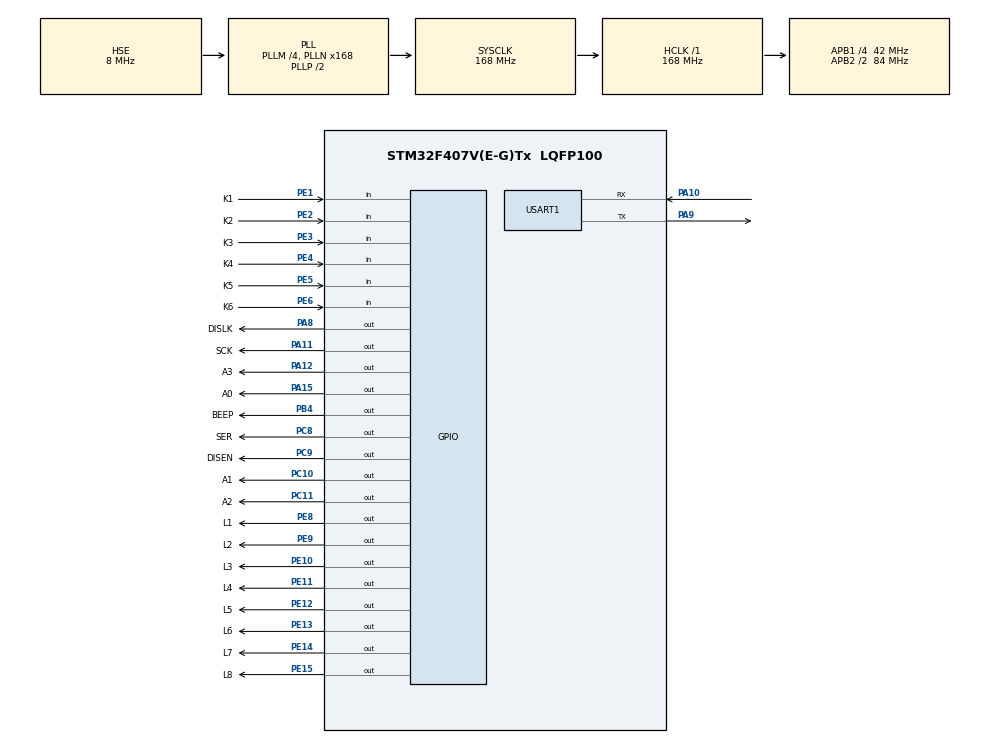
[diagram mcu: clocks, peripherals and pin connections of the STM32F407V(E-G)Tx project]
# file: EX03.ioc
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Dma.Request0=USART1_RX
Dma.USART1_RX.0.Direction=DMA_PERIPH_TO_MEMORY
Dma.USART1_RX.0.FIFOMode=DMA_FIFOMODE_DISABLE
Dma.USART1_RX.0.Instance=DMA2_Stream2
Dma.USART1_RX.0.MemDataAlignment=DMA_MDATAALIGN_BYTE
Dma.USART1_RX.0.MemInc=DMA_MINC_ENABLE
Dma.USART1_RX.0.Mode=DMA_NORMAL
Dma.USART1_RX.0.PeriphDataAlignment=DMA_PDATAALIGN_BYTE
Dma.USART1_RX.0.PeriphInc=DMA_PINC_DISABLE
Dma.USART1_RX.0.Priority=DMA_PRIORITY_LOW
FREERTOS.Tasks01=TaskLED,24,256,StartTaskLED,Default,NULL,Dynamic,NULL,NULL;TaskUART,8,256,StartTaskUART,Default,NULL,Dynamic,NULL,NULL;TaskKEY,8,256,StartTaskKEY,Default,NULL,Dynamic,NULL,NULL;TaskSEG,8,128,StartTaskSEG,Default,NULL,Dynamic,NULL,NULL
Mcu.Family=STM32F4
Mcu.Name=STM32F407V(E-G)Tx
Mcu.Package=LQFP100
NVIC.DMA2_Stream2_IRQn=true\:5\:0\:false\:false\:true\:true\:false\:true
NVIC.PriorityGroup=NVIC_PRIORITYGROUP_4
NVIC.TIM1_BRK_TIM9_IRQn=true\:0\:0\:false\:false\:true\:false\:false\:true
NVIC.TimeBase=TIM1_BRK_TIM9_IRQn
NVIC.TimeBaseIP=TIM9
NVIC.USART1_IRQn=true\:5\:0\:false\:false\:true\:true\:true\:true
PA10.Mode=Asynchronous
PA10.Signal=USART1_RX
PA11.GPIO_Label=SCK
PA11.Signal=GPIO_Output
PA12.GPIO_Label=A3
PA12.Signal=GPIO_Output
PA13.Mode=Serial_Wire
PA13.Signal=SYS_JTMS-SWDIO
PA14.Mode=Serial_Wire
PA14.Signal=SYS_JTCK-SWCLK
PA15.GPIO_Label=A0
PA15.Signal=GPIO_Output
PA8.GPIO_Label=DISLK
PA8.Signal=GPIO_Output
PA9.Mode=Asynchronous
PA9.Signal=USART1_TX
PB4.GPIO_Label=BEEP
PB4.Signal=GPIO_Output
PC10.GPIO_Label=A1
PC10.Signal=GPIO_Output
PC11.GPIO_Label=A2
PC11.Signal=GPIO_Output
PC8.GPIO_Label=SER
PC8.Signal=GPIO_Output
PC9.GPIO_Label=DISEN
PC9.Signal=GPIO_Output
PE1.GPIO_Label=K1
PE1.GPIO_PuPd=GPIO_PULLUP
PE1.Signal=GPIO_Input
PE10.GPIO_Label=L3
PE10.GPIO_ModeDefaultOutputPP=GPIO_MODE_OUTPUT_PP
PE10.GPIO_PuPd=GPIO_NOPULL
PE10.GPIO_Speed=GPIO_SPEED_FREQ_LOW
PE10.PinState=GPIO_PIN_SET
PE10.Signal=GPIO_Output
PE11.GPIO_Label=L4
PE11.GPIO_ModeDefaultOutputPP=GPIO_MODE_OUTPUT_PP
PE11.GPIO_PuPd=GPIO_NOPULL
PE11.GPIO_Speed=GPIO_SPEED_FREQ_LOW
PE11.PinState=GPIO_PIN_SET
PE11.Signal=GPIO_Output
PE12.GPIO_Label=L5
PE12.GPIO_ModeDefaultOutputPP=GPIO_MODE_OUTPUT_PP
PE12.GPIO_PuPd=GPIO_NOPULL
PE12.GPIO_Speed=GPIO_SPEED_FREQ_LOW
PE12.PinState=GPIO_PIN_SET
PE12.Signal=GPIO_Output
PE13.GPIO_Label=L6
PE13.GPIO_ModeDefaultOutputPP=GPIO_MODE_OUTPUT_PP
PE13.GPIO_PuPd=GPIO_NOPULL
PE13.GPIO_Speed=GPIO_SPEED_FREQ_LOW
PE13.PinState=GPIO_PIN_SET
PE13.Signal=GPIO_Output
PE14.GPIO_Label=L7
PE14.GPIO_ModeDefaultOutputPP=GPIO_MODE_OUTPUT_PP
PE14.GPIO_PuPd=GPIO_NOPULL
PE14.GPIO_Speed=GPIO_SPEED_FREQ_LOW
PE14.PinState=GPIO_PIN_SET
PE14.Signal=GPIO_Output
PE15.GPIO_Label=L8
PE15.GPIO_ModeDefaultOutputPP=GPIO_MODE_OUTPUT_PP
PE15.GPIO_PuPd=GPIO_NOPULL
PE15.GPIO_Speed=GPIO_SPEED_FREQ_LOW
PE15.PinState=GPIO_PIN_SET
PE15.Signal=GPIO_Output
PE2.GPIO_Label=K2
PE2.GPIO_PuPd=GPIO_PULLUP
PE2.Signal=GPIO_Input
PE3.GPIO_Label=K3
PE3.GPIO_PuPd=GPIO_PULLUP
PE3.Signal=GPIO_Input
PE4.GPIO_Label=K4
PE4.GPIO_PuPd=GPIO_PULLUP
PE4.Signal=GPIO_Input
PE5.GPIO_Label=K5
PE5.GPIO_PuPd=GPIO_PULLDOWN
PE5.Signal=GPIO_Input
PE6.GPIO_Label=K6
PE6.GPIO_PuPd=GPIO_PULLDOWN
PE6.Signal=GPIO_Input
PE8.GPIO_Label=L1
PE8.GPIO_ModeDefaultOutputPP=GPIO_MODE_OUTPUT_PP
PE8.GPIO_PuPd=GPIO_NOPULL
PE8.GPIO_Speed=GPIO_SPEED_FREQ_LOW
PE8.PinState=GPIO_PIN_SET
PE8.Signal=GPIO_Output
PE9.GPIO_Label=L2
PE9.GPIO_ModeDefaultOutputPP=GPIO_MODE_OUTPUT_PP
PE9.GPIO_PuPd=GPIO_NOPULL
PE9.GPIO_Speed=GPIO_SPEED_FREQ_LOW
PE9.PinState=GPIO_PIN_SET
PE9.Signal=GPIO_Output
PH0-OSC_IN.Mode=HSE-External-Oscillator
PH0-OSC_IN.Signal=RCC_OSC_IN
PH1-OSC_OUT.Mode=HSE-External-Oscillator
PH1-OSC_OUT.Signal=RCC_OSC_OUT
ProjectManager.HeapSize=0x200
ProjectManager.StackSize=0x400
ProjectManager.TargetToolchain=MDK-ARM V5.27
RCC.48MHZClocksFreq_Value=84000000
RCC.AHBFreq_Value=168000000
RCC.APB1CLKDivider=RCC_HCLK_DIV4
RCC.APB1Freq_Value=42000000
RCC.APB1TimFreq_Value=84000000
RCC.APB2CLKDivider=RCC_HCLK_DIV2
RCC.APB2Freq_Value=84000000
RCC.APB2TimFreq_Value=168000000
RCC.CortexFreq_Value=168000000
RCC.HCLKFreq_Value=168000000
RCC.HSE_VALUE=8000000
RCC.HSI_VALUE=16000000
RCC.LSE_VALUE=32768
RCC.PLLM=4
RCC.PLLN=168
RCC.PLLSourceVirtual=RCC_PLLSOURCE_HSE
RCC.SYSCLKFreq_VALUE=168000000
RCC.SYSCLKSource=RCC_SYSCLKSOURCE_PLLCLK
RCC.VCOOutputFreq_Value=336000000
USART1.VirtualMode=VM_ASYNC
VP_FREERTOS_VS_CMSIS_V2.Mode=CMSIS_V2
VP_SYS_VS_tim9.Mode=TIM9
board=custom

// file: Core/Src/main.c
/* USER CODE BEGIN Header */
/**
  ******************************************************************************
  * @file           : main.c
  * @brief          : Main program body
  ******************************************************************************
  * @attention
  *
  * <h2><center>&copy; Copyright (c) 2021 STMicroelectronics.
  * All rights reserved.</center></h2>
  *
  * This software component is licensed by ST under Ultimate Liberty license
  * SLA0044, the "License"; You may not use this file except in compliance with
  * the License. You may obtain a copy of the License at:
  *                             www.st.com/SLA0044
  *
  ******************************************************************************
  */
/* USER CODE END Header */
#include "main.h"
#include "cmsis_os.h"
#include "dma.h"
#include "usart.h"
#include "gpio.h"

void SystemClock_Config(void);
void MX_FREERTOS_Init(void);

int main(void)
{

  /* MCU Configuration--------------------------------------------------------*/

  /* Reset of all peripherals, Initializes the Flash interface and the Systick. */
  HAL_Init();

  /* Configure the system clock */
  SystemClock_Config();

  /* Initialize all configured peripherals */
  MX_GPIO_Init();
  MX_DMA_Init();
  MX_USART1_UART_Init();

  /* Init scheduler */
  osKernelInitialize();  /* Call init function for freertos objects (in freertos.c) */
  MX_FREERTOS_Init();
  /* Start scheduler */
  osKernelStart();

  /* We should never get here as control is now taken by the scheduler */
  /* Infinite loop */
  while (1)
  {

  }
}

void SystemClock_Config(void)
{
  RCC_OscInitTypeDef RCC_OscInitStruct = {0};
  RCC_ClkInitTypeDef RCC_ClkInitStruct = {0};

  /** Configure the main internal regulator output voltage
  */
  __HAL_RCC_PWR_CLK_ENABLE();
  __HAL_PWR_VOLTAGESCALING_CONFIG(PWR_REGULATOR_VOLTAGE_SCALE1);
  /** Initializes the RCC Oscillators according to the specified parameters
  * in the RCC_OscInitTypeDef structure.
  */
  RCC_OscInitStruct.OscillatorType = RCC_OSCILLATORTYPE_HSE;
  RCC_OscInitStruct.HSEState = RCC_HSE_ON;
  RCC_OscInitStruct.PLL.PLLState = RCC_PLL_ON;
  RCC_OscInitStruct.PLL.PLLSource = RCC_PLLSOURCE_HSE;
  RCC_OscInitStruct.PLL.PLLM = 4;
  RCC_OscInitStruct.PLL.PLLN = 168;
  RCC_OscInitStruct.PLL.PLLP = RCC_PLLP_DIV2;
  RCC_OscInitStruct.PLL.PLLQ = 4;
  if (HAL_RCC_OscConfig(&RCC_OscInitStruct) != HAL_OK)
  {
    Error_Handler();
  }
  /** Initializes the CPU, AHB and APB buses clocks
  */
  RCC_ClkInitStruct.ClockType = RCC_CLOCKTYPE_HCLK|RCC_CLOCKTYPE_SYSCLK
                              |RCC_CLOCKTYPE_PCLK1|RCC_CLOCKTYPE_PCLK2;
  RCC_ClkInitStruct.SYSCLKSource = RCC_SYSCLKSOURCE_PLLCLK;
  RCC_ClkInitStruct.AHBCLKDivider = RCC_SYSCLK_DIV1;
  RCC_ClkInitStruct.APB1CLKDivider = RCC_HCLK_DIV4;
  RCC_ClkInitStruct.APB2CLKDivider = RCC_HCLK_DIV2;

  if (HAL_RCC_ClockConfig(&RCC_ClkInitStruct, FLASH_LATENCY_5) != HAL_OK)
  {
    Error_Handler();
  }
}

 /**
  * @brief  Period elapsed callback in non blocking mode
  * @note   This function is called  when TIM9 interrupt took place, inside
  * HAL_TIM_IRQHandler(). It makes a direct call to HAL_IncTick() to increment
  * a global variable "uwTick" used as application time base.
  * @param  htim : TIM handle
  * @retval None
  */
void HAL_TIM_PeriodElapsedCallback(TIM_HandleTypeDef *htim)
{
  if (htim->Instance == TIM9) {
    HAL_IncTick();
  }
}

void Error_Handler(void)
{
  __disable_irq();
  while (1)
  {
  }
}

/************************ (C) COPYRIGHT STMicroelectronics *****END OF FILE****/

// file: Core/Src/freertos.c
/* USER CODE BEGIN Header */
/**
  ******************************************************************************
  * File Name          : freertos.c
  * Description        : Code for freertos applications
  ******************************************************************************
  * @attention
  *
  * <h2><center>&copy; Copyright (c) 2021 STMicroelectronics.
  * All rights reserved.</center></h2>
  *
  * This software component is licensed by ST under Ultimate Liberty license
  * SLA0044, the "License"; You may not use this file except in compliance with
  * the License. You may obtain a copy of the License at:
  *                             www.st.com/SLA0044
  *
  ******************************************************************************
  */
/* USER CODE END Header */

#include "FreeRTOS.h"
#include "task.h"
#include "main.h"
#include "cmsis_os.h"

/* USER CODE BEGIN Includes */
#include "led.h"
#include "seg.h"
#include "usart.h"
#include "stdio.h"
#include "string.h"
/* USER CODE END Includes */

/* USER CODE BEGIN Variables */
uint8_t led_run=1; //运行
uint8_t led_sp=5;	 //速度等级

uint8_t seg[4] = {0};

#define MAX_RECV_LEN 128
uint8_t rx1_buff[MAX_RECV_LEN] = {0};
uint8_t *pBuf;
uint8_t line_flag = 0;

uint32_t recv_tick = 0;

//seg
uint8_t save_data[12] = {0};
uint8_t num = 0;
uint8_t flag = 0;

/* USER CODE END Variables */
/* Definitions for TaskLED */
osThreadId_t TaskLEDHandle;
const osThreadAttr_t TaskLED_attributes = {
  .name = "TaskLED",
  .stack_size = 256 * 4,
  .priority = (osPriority_t) osPriorityNormal,
};
/* Definitions for TaskUART */
osThreadId_t TaskUARTHandle;
const osThreadAttr_t TaskUART_attributes = {
  .name = "TaskUART",
  .stack_size = 256 * 4,
  .priority = (osPriority_t) osPriorityLow,
};
/* Definitions for TaskKEY */
osThreadId_t TaskKEYHandle;
const osThreadAttr_t TaskKEY_attributes = {
  .name = "TaskKEY",
  .stack_size = 256 * 4,
  .priority = (osPriority_t) osPriorityLow,
};
/* Definitions for TaskSEG */
osThreadId_t TaskSEGHandle;
const osThreadAttr_t TaskSEG_attributes = {
  .name = "TaskSEG",
  .stack_size = 128 * 4,
  .priority = (osPriority_t) osPriorityLow,
};

/* USER CODE BEGIN FunctionPrototypes */
void data_analyse();
void seg_runing();
void seg_ctrl();
/* USER CODE END FunctionPrototypes */

void StartTaskLED(void *argument);
void StartTaskUART(void *argument);
void StartTaskKEY(void *argument);
void StartTaskSEG(void *argument);

void MX_FREERTOS_Init(void); /* (MISRA C 2004 rule 8.1) */

void MX_FREERTOS_Init(void) {

  /* Create the thread(s) */
  /* creation of TaskLED */
  TaskLEDHandle = osThreadNew(StartTaskLED, NULL, &TaskLED_attributes);

  /* creation of TaskUART */
  TaskUARTHandle = osThreadNew(StartTaskUART, NULL, &TaskUART_attributes);

  /* creation of TaskKEY */
  TaskKEYHandle = osThreadNew(StartTaskKEY, NULL, &TaskKEY_attributes);

  /* creation of TaskSEG */
  TaskSEGHandle = osThreadNew(StartTaskSEG, NULL, &TaskSEG_attributes);

}

void StartTaskLED(void *argument)
{
  /* USER CODE BEGIN StartTaskLED */
  /* Infinite loop */
	uint8_t led_sta=0x01;
	Set_leds(led_sta);

  for(;;)
  {
		if(led_run){
			if(led_sta<0x80){
				led_sta<<=1;
			}
			else{
				led_sta=0x01;
			}

			Set_leds(led_sta);
		}

    osDelay(50*(10-led_sp));
  }
  /* USER CODE END StartTaskLED */
}

void StartTaskUART(void *argument)
{
  /* USER CODE BEGIN StartTaskUART */
//	printf("Hello Word!\r\n");
	pBuf = rx1_buff;
	HAL_UART_Receive_IT(&huart1,pBuf,1);
  /* Infinite loop */
  for(;;)
  {
//		if(line_flag)
//		{
//			printf("%s",rx1_buff);
//			memset(rx1_buff,0,MAX_RECV_LEN);
//			line_flag = 0;
//		}
		if(recv_tick > 0 && osKernelGetTickCount() >= recv_tick + 20)
		{
			*pBuf = '\0';
			data_analyse();
//			seg_ctrl();
//			seg_runing();
			pBuf = rx1_buff;
			recv_tick = 0;
		}
    osDelay(1);
  }
  /* USER CODE END StartTaskUART */
}

void StartTaskKEY(void *argument)
{
  /* USER CODE BEGIN StartTaskKEY */
  /* Infinite loop */
	uint8_t key;
  for(;;)
  {
		seg_runing();

		key=ScanKey();

		switch (key)
		{
			case KEY1:
				seg[0]=1;
				led_run=1;
				break;
			case KEY2:
				seg[0]=2;
				led_run=0;
				break;
			case KEY3:
				seg[0]=3;
				if(led_sp<9)
					++led_sp;
				break;
			case KEY4:
				seg[0]=4;
				if(led_sp>1)
					--led_sp;
				break;
			case KEY5:
				seg[0]=5;
				break;
			case KEY6:
				seg[0]=6;
				break;
			default:
				break;
		}
    osDelay(500);
  }
  /* USER CODE END StartTaskKEY */
}

void StartTaskSEG(void *argument)
{
  /* USER CODE BEGIN StartTaskSEG */
  /* Infinite loop */
  for(;;)
  {
		int i;
		for(i=0;i<4;i++){
			Write595(i,seg[i],0);
			osDelay(5);
		}
    osDelay(1);
  }
  /* USER CODE END StartTaskSEG */
}

/* USER CODE BEGIN Application */
void HAL_UART_RxCpltCallback(UART_HandleTypeDef *UartHandle)
{
	if(UartHandle->Instance == USART1)
	{
		++ pBuf;
		if(pBuf == rx1_buff + MAX_RECV_LEN)
			pBuf = rx1_buff;

		recv_tick = osKernelGetTickCount();
//		else if(*(pBuf - 1) == '\n')
//		{
//			line_flag = 1;
//			*pBuf = '\0';
//			pBuf = rx1_buff;
//		}

		__HAL_UNLOCK(UartHandle);
		HAL_UART_Receive_IT(UartHandle,pBuf,1);
	}

}

/*------------------------------------------------------------------------------
* brief   : 串口接收逻辑判断函数
-------------------------------------------------------------------------------*/
void data_analyse()
{
	if(strcmp((char *)rx1_buff,"START") == 0)
	{
			led_run=1;
			printf("OK\r\n");
	}
	else if(strcmp((char *)rx1_buff,"STOP") == 0)
	{
			led_run=0;
			printf("OK\r\n");
	}
	else if(strcmp((char *)rx1_buff,"SP1") == 0)
	{
			led_sp = 1;
			printf("OK\r\n");
	}
	else if(strcmp((char *)rx1_buff,"SP2") == 0)
	{
			led_sp = 2;
			printf("OK\r\n");
	}
		else if(strcmp((char *)rx1_buff,"SP3") == 0)
	{
			led_sp = 3;
			printf("OK\r\n");
	}

	else if(strcmp((char *)rx1_buff,"SP4") == 0)
	{
			led_sp = 4;
			printf("OK\r\n");
	}
	else if(strcmp((char *)rx1_buff,"SP5") == 0)
	{
			led_sp = 5;
			printf("OK\r\n");
	}
		else if(strcmp((char *)rx1_buff,"SP6") == 0)
	{
			led_sp = 6;
			printf("OK\r\n");
	}

		else if(strcmp((char *)rx1_buff,"SP7") == 0)
	{
			led_sp = 7;
			printf("OK\r\n");
	}
	else if(strcmp((char *)rx1_buff,"SP8") == 0)
	{
			led_sp = 8;
			printf("OK\r\n");
	}
		else if(strcmp((char *)rx1_buff,"SP9") == 0)
	{
			led_sp = 9;
			printf("OK\r\n");
	}
	else
	{
			printf("%s",rx1_buff);
	}

}

/*------------------------------------------------------------------------------
* brief   : 串口接收数码管控制逻辑
-------------------------------------------------------------------------------*/
void seg_ctrl()
{
	int len,j;
	flag = 0;
	num = 0;
	len = strlen((char*)rx1_buff);
//	printf("%d\r\n",len);
	for(int i = 0;i<len;i++)
	{
		if(rx1_buff[i] >= '0' && rx1_buff[i] <= '9'&&num<10){
			save_data[num] = rx1_buff[i];
			num++;
		}
		else if(rx1_buff[i] >= 'A' && rx1_buff[i] <= 'F'&&num<10){
			save_data[num] = rx1_buff[i]+10-'A';
			num++;
		}
	}

	save_data[num] = '\0';
//	printf("%d\r\n",strlen((char*)save_data));

	if(num<=4){
		flag = 0;
	}
	else{
		flag = 1;
	}
}

/*------------------------------------------------------------------------------
* brief   : 数码管是否滚动逻辑
-------------------------------------------------------------------------------*/
void seg_runing()
{
	int i,j;
	if(flag == 0){
		for(j=0;j<4;j++){
			seg[j] = save_data[j];
		}

	}

	else if(flag == 1){
		save_data[strlen((char*)save_data)] = save_data[0];
		for(i = 0;i<strlen((char*)save_data)-2;i++){
			save_data[i] = save_data[i+1];
		}

		for(j=0;j<4;j++){
			seg[j] = save_data[j];
		}

	}
}

/* USER CODE END Application */

/************************ (C) COPYRIGHT STMicroelectronics *****END OF FILE****/
